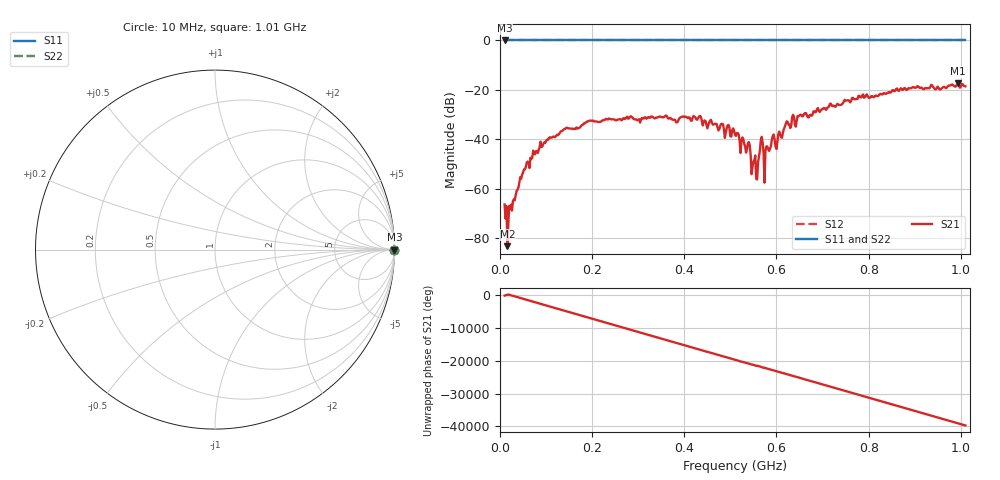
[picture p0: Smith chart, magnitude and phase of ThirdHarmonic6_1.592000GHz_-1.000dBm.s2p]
! 8/16/2025 6:58:12 PM
! C:\ANRITSUVNA\TEMP\TEMP.S2P
! CHANNEL.1
! TR.MEASUREMENT
! RAW.DATA
! RF.CORRECTION.OFF
! AVERAGING.OFF
! IF.BANDWIDTH: 5KHZ
! SWEEPTYPE:  FREQ.SWEEP(Linear)
! Reference Plane Port Info
! PORT:  PORT1  PORT2
! DISTANCE:  0  m  0  m
! TIME:  0  s  0  s
! PHASE.OFFSET:  0  deg.  0  deg.
! LOSS:  0  dB  0  dB
! REF.LOSS:  0  dB  0  dB
! REF.FREQ:  0  Hz  0  Hz
! Power Info
! POWER:  -20  dBm  -20  dBm
! EFF.POWER:  -20  dBm  -20  dBm
! SOURCE.ATTEN:  0  dB  0  dB
! TEST.ATTEN:  0  dB  0  dB
# GHZ S RI R 50.0
! FREQ.GHZ  S11RE  S11IM  S21RE  S21IM  S12RE  S12IM  S22RE  S22IM
!; PortSelection: Port_12
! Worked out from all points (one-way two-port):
!   501 points, 10 MHz to 1.01 GHz, reference 50 ohm
!   highest |S21| = -17.32 dB at 994 MHz (marker M1); lowest = -83.3 dB at 16 MHz (marker M2)
!   lowest |S11| = 0.0 dB at 10 MHz (marker M3)
!   |S11| at or under -10 dB: nowhere
!   |S22| runs from 0.0 to 0.0 dB; largest |S21 - S12| = 1.1
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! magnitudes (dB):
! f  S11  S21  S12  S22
! 10 MHz  0.0  -66.4  0.0  0.0
! 16 MHz  0.0  -83.3  0.0  0.0
! 48 MHz  0.0  -54.3  0.0  0.0
! 76 MHz  0.0  -46.1  0.0  0.0
! 142 MHz  0.0  -35.8  0.0  0.0
! 178 MHz  0.0  -34.2  0.0  0.0
! 344 MHz  0.0  -31.0  0.0  0.0
! 432 MHz  0.0  -30.8  0.0  0.0
! 510 MHz  0.0  -38.1  0.0  0.0
! 540 MHz  0.0  -41.1  0.0  0.0
! 548 MHz  0.0  -51.1  0.0  0.0
! 556 MHz  0.0  -56.0  0.0  0.0
! 560 MHz  0.0  -49.4  0.0  0.0
! 566 MHz  0.0  -40.3  0.0  0.0
! 576 MHz  0.0  -44.9  0.0  0.0
! 592 MHz  0.0  -38.7  0.0  0.0
! 600 MHz  0.0  -43.9  0.0  0.0
! 622 MHz  0.0  -32.8  0.0  0.0
! 678 MHz  0.0  -30.2  0.0  0.0
! 844 MHz  0.0  -20.9  0.0  0.0
! 994 MHz  0.0  -17.3  0.0  0.0
! 1.01 GHz  0.0  -18.6  0.0  0.0
